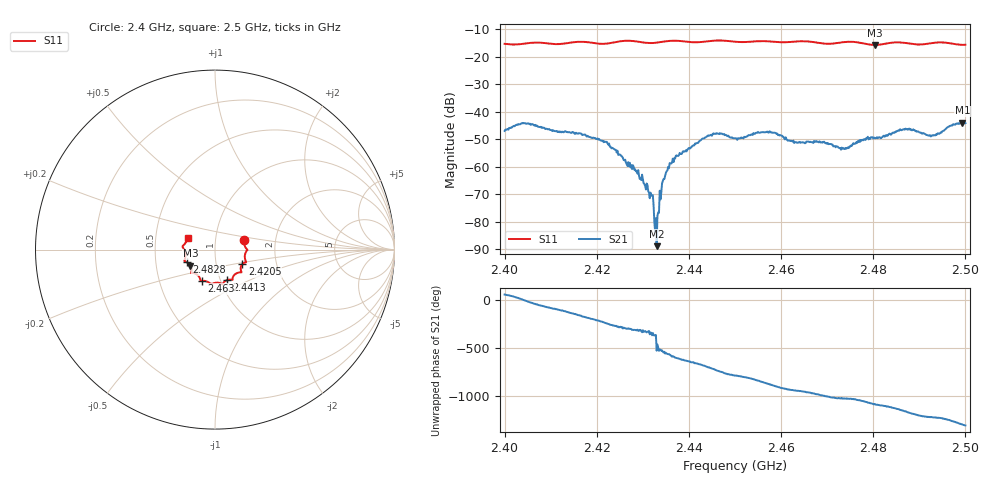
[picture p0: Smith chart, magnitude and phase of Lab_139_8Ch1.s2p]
# Hz S RI R 50
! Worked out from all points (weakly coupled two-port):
!   601 points, 2.4 GHz to 2.5 GHz, reference 50 ohm
!   highest |S21| = -43.93 dB at 2.4993 GHz (marker M1); lowest = -88.8 dB at 2.433 GHz (marker M2)
!   lowest |S11| = -15.7 dB at 2.4803 GHz (marker M3), VSWR 1.39, Z = 37.4 - j6.85 ohm
!   |S11| at or under -10 dB: start of sweep to end of sweep
!   S12 and S22 are empty: the file has one direction only
!   S11 on the Smith chart (normalised r, x): 2.4 GHz: 1.38, +0.15; 2.4205 GHz: 1.34, -0.22; 2.4413 GHz: 1.08, -0.38; 2.463 GHz: 0.82, -0.29; 2.4828 GHz: 0.72, -0.10; 2.5 GHz: 0.73, +0.10
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2.4e9  0.1631 0.0525  0.00241 0.0038  0 0  0 0
2.404667e9  0.1744 0.00575  0.00599 -0.00089  0 0  0 0
2.416667e9  0.1734 -0.0695  -0.00387 -0.00105  0 0  0 0
2.4205e9  0.1521 -0.0809  -0.00265 0.00182  0 0  0 0
2.4285e9  0.1417 -0.1265  0.00056 0.000611  0 0  0 0
2.431667e9  0.1115 -0.1374  0.00031 0.000141  0 0  0 0
2.433e9  0.1019 -0.1484  -3.51e-05 -9.2e-06  0 0  0 0
2.433333e9  0.1003 -0.1513  -0.000104 -0.000108  0 0  0 0
2.434667e9  0.0978 -0.1616  -0.000603 -3.38e-05  0 0  0 0
2.436e9  0.0979 -0.1678  -0.000979 0.000629  0 0  0 0
2.441333e9  0.0675 -0.1697  0.00105 0.00244  0 0  0 0
2.45e9  0.0248 -0.1857  0.00144 -0.003  0 0  0 0
2.457333e9  -0.0267 -0.1881  -0.00364 -0.00204  0 0  0 0
2.463e9  -0.0721 -0.1738  -0.00226 0.00172  0 0  0 0
2.466667e9  -0.0817 -0.1674  -0.00103 0.0026  0 0  0 0
2.473833e9  -0.1309 -0.1305  0.00113 0.00178  0 0  0 0
2.480333e9  -0.1373 -0.0892  0.00333 7.63e-05  0 0  0 0
2.482833e9  -0.1587 -0.0701  0.00343 -0.00159  0 0  0 0
2.483333e9  -0.1626 -0.0683  0.00348 -0.00173  0 0  0 0
2.493e9  -0.1776 0.00941  -0.00271 -0.00251  0 0  0 0
2.499333e9  -0.1548 0.0544  -0.00542 0.00333  0 0  0 0
2.5e9  -0.1519 0.0638  -0.00465 0.00413  0 0  0 0
